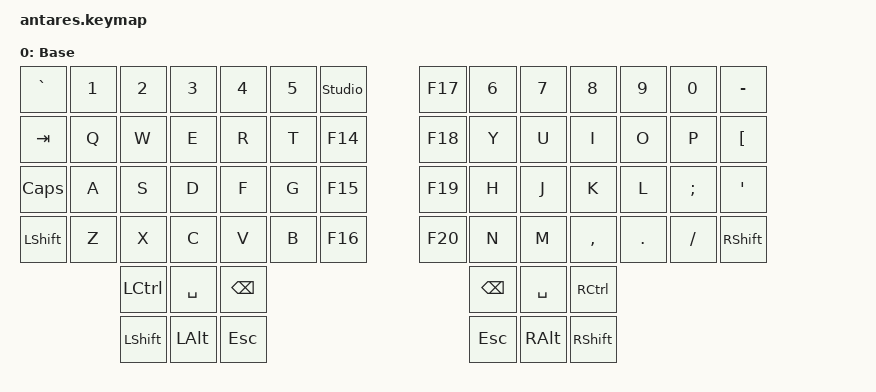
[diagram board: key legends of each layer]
#include <behaviors.dtsi>
#include <dt-bindings/zmk/keys.h>

/ {
    keymap0: keymap0 {
        compatible = "zmk,keymap";

        default_layer { // Layer 0
            display-name = "Base";
            bindings = <
    &kp GRAVE   &kp N1  &kp N2  &kp N3  &kp N4  &kp N5  &studio_unlock  &kp F17 &kp N6  &kp N7  &kp N8      &kp N9  &kp N0      &kp MINUS
    &kp TAB     &kp Q   &kp W   &kp E   &kp R   &kp T   &kp F14         &kp F18 &kp Y   &kp U   &kp I       &kp O   &kp P       &kp LBKT
    &kp CAPS    &kp A   &kp S   &kp D   &kp F   &kp G   &kp F15         &kp F19 &kp H   &kp J   &kp K       &kp L   &kp SEMI    &kp APOS
    &kp LSHIFT  &kp Z   &kp X   &kp C   &kp V   &kp B   &kp F16         &kp F20 &kp N   &kp M   &kp COMMA   &kp DOT &kp SLASH   &kp RSHIFT
                        &kp LCTRL   &kp SPACE   &kp BSPC                    &kp BSPC    &kp SPACE   &kp RCTRL
                        &kp LSHIFT  &kp LALT    &kp ESC                     &kp ESC     &kp RALT    &kp RSHIFT
            >;
        };

        extra1 {
            status = "reserved";
        };

        extra2 {
            status = "reserved";
        };

        extra3 {
            status = "reserved";
        };

        extra4 {
            status = "reserved";
        };

        extra5 {
            status = "reserved";
        };

        extra6 {
            status = "reserved";
        };

        extra7 {
            status = "reserved";
        };
    };
};
